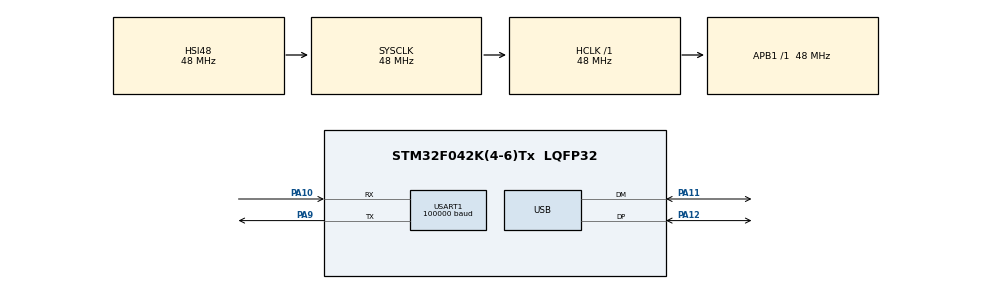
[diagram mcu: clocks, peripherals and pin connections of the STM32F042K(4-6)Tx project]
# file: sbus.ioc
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Dma.Request0=USART1_RX
Dma.USART1_RX.0.Direction=DMA_PERIPH_TO_MEMORY
Dma.USART1_RX.0.Instance=DMA1_Channel3
Dma.USART1_RX.0.MemDataAlignment=DMA_MDATAALIGN_BYTE
Dma.USART1_RX.0.MemInc=DMA_MINC_ENABLE
Dma.USART1_RX.0.Mode=DMA_NORMAL
Dma.USART1_RX.0.PeriphDataAlignment=DMA_PDATAALIGN_BYTE
Dma.USART1_RX.0.PeriphInc=DMA_PINC_DISABLE
Dma.USART1_RX.0.Priority=DMA_PRIORITY_MEDIUM
Mcu.Family=STM32F0
Mcu.Name=STM32F042K(4-6)Tx
Mcu.Package=LQFP32
NVIC.DMA1_Channel2_3_IRQn=true\:0\:0\:false\:false\:true\:false
NVIC.USB_IRQn=true\:0\:0\:false\:false\:true\:false
PA10.Mode=Asynchronous
PA10.Signal=USART1_RX
PA11.Mode=Device
PA11.Signal=USB_DM
PA12.Mode=Device
PA12.Signal=USB_DP
PA13.Mode=Serial_Wire
PA13.Signal=SYS_SWDIO
PA14.Mode=Serial_Wire
PA14.Signal=SYS_SWCLK
PA9.Mode=Asynchronous
PA9.Signal=USART1_TX
ProjectManager.HeapSize=0x100
ProjectManager.StackSize=0x400
ProjectManager.TargetToolchain=Makefile
RCC.AHBFreq_Value=48000000
RCC.APB1Freq_Value=48000000
RCC.APB1TimFreq_Value=48000000
RCC.HCLKFreq_Value=48000000
RCC.SYSCLKFreq_VALUE=48000000
RCC.SYSCLKSource=RCC_SYSCLKSOURCE_HSI48
USART1.BaudRate=100000
USART1.Mode=MODE_RX
USART1.Parity=PARITY_EVEN
USART1.RxPinLevelInvertParam=ADVFEATURE_RXINV_ENABLE
USART1.StopBits=STOPBITS_2
USART1.VirtualMode-Asynchronous=VM_ASYNC
USART1.WordLength=WORDLENGTH_9B
USB_DEVICE.CLASS_NAME_FS=CDC
USB_DEVICE.VirtualMode=Cdc
USB_DEVICE.VirtualModeFS=Cdc_FS
VP_USB_DEVICE_VS_USB_DEVICE_CDC_FS.Mode=CDC_FS
board=custom

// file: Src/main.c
/**
  ******************************************************************************
  * @file           : main.c
  * @brief          : Main program body
  ******************************************************************************
  * This notice applies to any and all portions of this file
  * that are not between comment pairs USER CODE BEGIN and
  * USER CODE END. Other portions of this file, whether
  * inserted by the user or by software development tools
  * are owned by their respective copyright owners.
  *
  * Copyright (c) 2018 STMicroelectronics International N.V.
  * All rights reserved.
  *
  * Redistribution and use in source and binary forms, with or without
  * modification, are permitted, provided that the following conditions are met:
  *
  * 1. Redistribution of source code must retain the above copyright notice,
  *    this list of conditions and the following disclaimer.
  * 2. Redistributions in binary form must reproduce the above copyright notice,
  *    this list of conditions and the following disclaimer in the documentation
  *    and/or other materials provided with the distribution.
  * 3. Neither the name of STMicroelectronics nor the names of other
  *    contributors to this software may be used to endorse or promote products
  *    derived from this software without specific written permission.
  * 4. This software, including modifications and/or derivative works of this
  *    software, must execute solely and exclusively on microcontroller or
  *    microprocessor devices manufactured by or for STMicroelectronics.
  * 5. Redistribution and use of this software other than as permitted under
  *    this license is void and will automatically terminate your rights under
  *    this license.
  *
  * THIS SOFTWARE IS PROVIDED BY STMICROELECTRONICS AND CONTRIBUTORS "AS IS"
  * AND ANY EXPRESS, IMPLIED OR STATUTORY WARRANTIES, INCLUDING, BUT NOT
  * LIMITED TO, THE IMPLIED WARRANTIES OF MERCHANTABILITY, FITNESS FOR A
  * PARTICULAR PURPOSE AND NON-INFRINGEMENT OF THIRD PARTY INTELLECTUAL PROPERTY
  * RIGHTS ARE DISCLAIMED TO THE FULLEST EXTENT PERMITTED BY LAW. IN NO EVENT
  * SHALL STMICROELECTRONICS OR CONTRIBUTORS BE LIABLE FOR ANY DIRECT, INDIRECT,
  * INCIDENTAL, SPECIAL, EXEMPLARY, OR CONSEQUENTIAL DAMAGES (INCLUDING, BUT NOT
  * LIMITED TO, PROCUREMENT OF SUBSTITUTE GOODS OR SERVICES; LOSS OF USE, DATA,
  * OR PROFITS; OR BUSINESS INTERRUPTION) HOWEVER CAUSED AND ON ANY THEORY OF
  * LIABILITY, WHETHER IN CONTRACT, STRICT LIABILITY, OR TORT (INCLUDING
  * NEGLIGENCE OR OTHERWISE) ARISING IN ANY WAY OUT OF THE USE OF THIS SOFTWARE,
  * EVEN IF ADVISED OF THE POSSIBILITY OF SUCH DAMAGE.
  *
  ******************************************************************************
  */
#include "main.h"
#include "stm32f0xx_hal.h"
#include "usb_device.h"

/* USER CODE BEGIN Includes */
#include "usbd_cdc_if.h"
#include "sbus.h"
/* USER CODE END Includes */

UART_HandleTypeDef huart1;
DMA_HandleTypeDef hdma_usart1_rx;

/* USER CODE BEGIN PV */
uint8_t sbusByte;
sbusHandle_t sbusHandle;
char message[35];
/* Private variables ---------------------------------------------------------*/
/* USER CODE END PV */

void SystemClock_Config(void);
static void MX_GPIO_Init(void);
static void MX_DMA_Init(void);
static void MX_USART1_UART_Init(void);
static void appSbusInit(void);
static void onSbusFrame(sbusHandle_t *handle);

/* USER CODE BEGIN PFP */
/* Private function prototypes -----------------------------------------------*/

/* USER CODE END PFP */

int main(void)
{

  /* MCU Configuration----------------------------------------------------------*/

  /* Reset of all peripherals, Initializes the Flash interface and the Systick. */
  HAL_Init();

  /* Configure the system clock */
  SystemClock_Config();

  /* Initialize all configured peripherals */
  MX_GPIO_Init();
  MX_DMA_Init();
  MX_USB_DEVICE_Init();
  MX_USART1_UART_Init();
  /* USER CODE BEGIN 2 */

  appSbusInit();
  /* USER CODE END 2 */

  /* Infinite loop */
  /* USER CODE BEGIN WHILE */
  while (1)
  {
    itoa(sbusHandle.bytesReceived, message, 10);
    message[strlen(message)] = '\n';
    CDC_Transmit_FS(message, strlen(message));
    HAL_Delay(1000);
  /* USER CODE END WHILE */

  }

}

void SystemClock_Config(void)
{

  RCC_OscInitTypeDef RCC_OscInitStruct;
  RCC_ClkInitTypeDef RCC_ClkInitStruct;
  RCC_PeriphCLKInitTypeDef PeriphClkInit;

    /**Initializes the CPU, AHB and APB busses clocks
    */
  RCC_OscInitStruct.OscillatorType = RCC_OSCILLATORTYPE_HSI48;
  RCC_OscInitStruct.HSI48State = RCC_HSI48_ON;
  RCC_OscInitStruct.PLL.PLLState = RCC_PLL_NONE;
  if (HAL_RCC_OscConfig(&RCC_OscInitStruct) != HAL_OK)
  {
    _Error_Handler(__FILE__, __LINE__);
  }

    /**Initializes the CPU, AHB and APB busses clocks
    */
  RCC_ClkInitStruct.ClockType = RCC_CLOCKTYPE_HCLK|RCC_CLOCKTYPE_SYSCLK
                              |RCC_CLOCKTYPE_PCLK1;
  RCC_ClkInitStruct.SYSCLKSource = RCC_SYSCLKSOURCE_HSI48;
  RCC_ClkInitStruct.AHBCLKDivider = RCC_SYSCLK_DIV1;
  RCC_ClkInitStruct.APB1CLKDivider = RCC_HCLK_DIV1;

  if (HAL_RCC_ClockConfig(&RCC_ClkInitStruct, FLASH_LATENCY_1) != HAL_OK)
  {
    _Error_Handler(__FILE__, __LINE__);
  }

  PeriphClkInit.PeriphClockSelection = RCC_PERIPHCLK_USB|RCC_PERIPHCLK_USART1;
  PeriphClkInit.Usart1ClockSelection = RCC_USART1CLKSOURCE_PCLK1;
  PeriphClkInit.UsbClockSelection = RCC_USBCLKSOURCE_HSI48;

  if (HAL_RCCEx_PeriphCLKConfig(&PeriphClkInit) != HAL_OK)
  {
    _Error_Handler(__FILE__, __LINE__);
  }

    /**Configure the Systick interrupt time
    */
  HAL_SYSTICK_Config(HAL_RCC_GetHCLKFreq()/1000);

    /**Configure the Systick
    */
  HAL_SYSTICK_CLKSourceConfig(SYSTICK_CLKSOURCE_HCLK);

  /* SysTick_IRQn interrupt configuration */
  HAL_NVIC_SetPriority(SysTick_IRQn, 0, 0);
}

/* USART1 init function */
static void MX_USART1_UART_Init(void)
{

  huart1.Instance = USART1;
  huart1.Init.BaudRate = 100000;
  huart1.Init.WordLength = UART_WORDLENGTH_9B;
  huart1.Init.StopBits = UART_STOPBITS_2;
  huart1.Init.Parity = UART_PARITY_EVEN;
  huart1.Init.Mode = UART_MODE_RX;
  huart1.Init.HwFlowCtl = UART_HWCONTROL_NONE;
  huart1.Init.OverSampling = UART_OVERSAMPLING_16;
  huart1.Init.OneBitSampling = UART_ONE_BIT_SAMPLE_DISABLE;
  huart1.AdvancedInit.AdvFeatureInit = UART_ADVFEATURE_RXINVERT_INIT;
  huart1.AdvancedInit.RxPinLevelInvert = UART_ADVFEATURE_RXINV_ENABLE;
  if (HAL_UART_Init(&huart1) != HAL_OK)
  {
    _Error_Handler(__FILE__, __LINE__);
  }

}

static void MX_DMA_Init(void)
{
  /* DMA controller clock enable */
  __HAL_RCC_DMA1_CLK_ENABLE();

  /* DMA interrupt init */
  /* DMA1_Channel2_3_IRQn interrupt configuration */
  HAL_NVIC_SetPriority(DMA1_Channel2_3_IRQn, 0, 0);
  HAL_NVIC_EnableIRQ(DMA1_Channel2_3_IRQn);

}

/** Configure pins as
        * Analog
        * Input
        * Output
        * EVENT_OUT
        * EXTI
*/
static void MX_GPIO_Init(void)
{

  /* GPIO Ports Clock Enable */
  __HAL_RCC_GPIOA_CLK_ENABLE();

}

/* USER CODE BEGIN 4 */
void HAL_UART_RxCpltCallback(UART_HandleTypeDef *huart) {
  sbusHandle.onByte(&sbusHandle, sbusByte);
}

static void appSbusInit(void) {
  sbusHandle.onFrame = onSbusFrame;

  if (!sbusInit(&sbusHandle)) {
    _Error_Handler(__FILE__, __LINE__);
  }

  HAL_UART_Receive_DMA(&huart1, &sbusByte, 1);
}

static void onSbusFrame(sbusHandle_t *handle) {
  const char *gotFrame = "got frame!\n";
  CDC_Transmit_FS(gotFrame, strlen(gotFrame));
}
/* USER CODE END 4 */

void _Error_Handler(char *file, int line)
{
  while(1)
  {
  }
}

/************************ (C) COPYRIGHT STMicroelectronics *****END OF FILE****/
